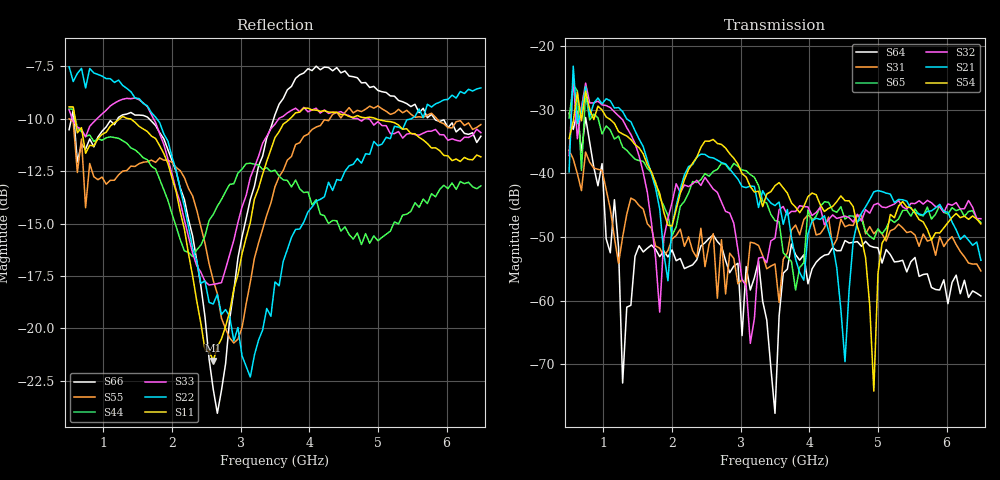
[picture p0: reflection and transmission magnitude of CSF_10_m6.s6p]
!Keysight Technologies,M9804A,MY58100912,A.14.10.03
!Date: Thursday, April 27, 2023 10:28:33
!Correction: S11(C  6-Port  )
!S12(C  6-Port  )
!S13(C  6-Port  )
!S14(C  6-Port  )
!S15(C  6-Port  )
!S16(C  6-Port  )
!S21(C  6-Port  )
!S22(C  6-Port  )
!S23(C  6-Port  )
!S24(C  6-Port  )
!S25(C  6-Port  )
!S26(C  6-Port  )
!S31(C  6-Port  )
!S32(C  6-Port  )
!S33(C  6-Port  )
!S34(C  6-Port  )
!S35(C  6-Port  )
!S36(C  6-Port  )
!S41(C  6-Port  )
!S42(C  6-Port  )
!S43(C  6-Port  )
!S44(C  6-Port  )
!S45(C  6-Port  )
!S46(C  6-Port  )
!S51(C  6-Port  )
!S52(C  6-Port  )
!S53(C  6-Port  )
!S54(C  6-Port  )
!S55(C  6-Port  )
!S56(C  6-Port  )
!S61(C  6-Port  )
!S62(C  6-Port  )
!S63(C  6-Port  )
!S64(C  6-Port  )
!S65(C  6-Port  )
!S66(C  6-Port  )
!S6P File: Measurement: :
# Hz S  RI  R 50
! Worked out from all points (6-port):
!   101 points, 500 MHz to 6.5 GHz, reference 50 ohm
!   strongest paths, dB at 500 MHz, 2 GHz, 3.5 GHz, 5 GHz, 6.5 GHz:
!     S54: -34.6, -48.3, -42.0, -55.8, -48.0
!     S21: -39.8, -48.3, -45.1, -42.7, -53.7
!     S32: -37.2, -44.6, -50.2, -44.7, -47.1
!     S65: -31.3, -49.8, -47.4, -48.7, -47.7
!     S31: -36.4, -50.3, -54.3, -48.9, -55.4
!     S64: -30.6, -52.0, -77.7, -51.7, -59.3
!   lowest |S11| = -21.5 dB at 2.6 GHz (marker M1), VSWR 1.18, Z = 42.5 + j2.1 ohm
!   |S11| at or under -10 dB: 587.5 MHz to 1.238 GHz (650 MHz wide, 71.2 % of centre); 1.382 GHz to 3.717 GHz (2.335 GHz wide, 91.6 % of centre); 4.974 GHz to end of sweep
